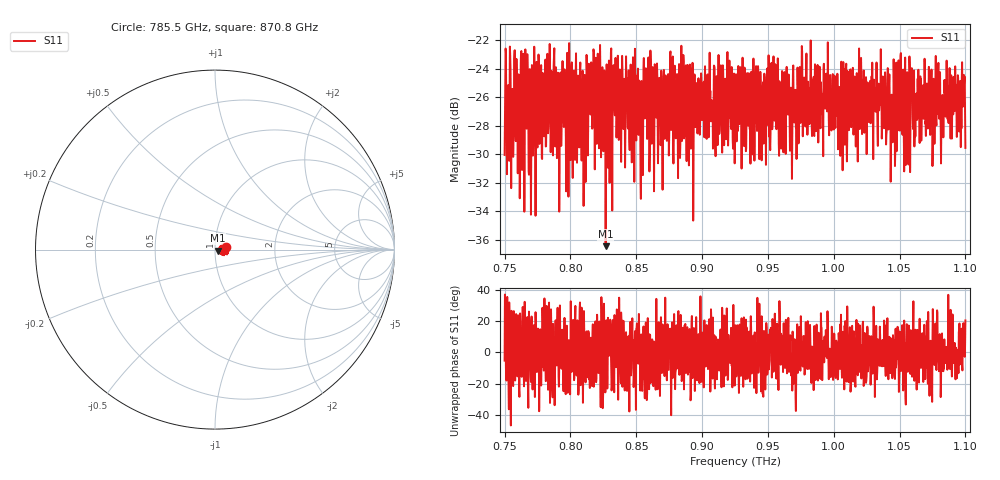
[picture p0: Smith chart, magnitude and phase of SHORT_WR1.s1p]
! Fixture THz termine par un SHORT ideal : ligne Zc=55 ohm, delai=300 ps, pertes 2.0 dB @10 GHz (~sqrt(f)), eps_r_eff=3.0 -> 51.93 mm, Z0=50 ohm ; 750.000 - 1100 GHz, pas 250 MHz, 1401 points, bruit -40 dB
! Frequency(Hz) Re(S11) Im(S11)
# Hz S RI R 50
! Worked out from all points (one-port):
!   1401 points, 750 GHz to 1.1 THz, reference 50 ohm
!   lowest |S11| = -36.5 dB at 826.8 GHz (marker M1), VSWR 1.03, Z = 51.4 - j0.517 ohm
!   |S11| at or under -10 dB: start of sweep to end of sweep
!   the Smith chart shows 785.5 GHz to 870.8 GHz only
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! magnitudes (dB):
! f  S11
! 750 GHz  -30.1
! 752.5 GHz  -26.6
! 759 GHz  -23.3
! 771.8 GHz  -29.1
! 786 GHz  -24.9
! 791.5 GHz  -34.0
! 793.8 GHz  -26.0
! 810 GHz  -33.6
! 814 GHz  -23.6
! 821 GHz  -23.7
! 826.8 GHz  -36.5
! 837.5 GHz  -24.0
! 848.2 GHz  -28.3
! 850.8 GHz  -24.7
! 853.5 GHz  -33.1
! 857.5 GHz  -24.1
! 868.2 GHz  -27.6
! 872.8 GHz  -26.8
! 881.2 GHz  -27.4
! 925 GHz  -28.7
! 950.2 GHz  -27.6
! 954.2 GHz  -23.1
! 968.8 GHz  -26.3
! 1.012 THz  -24.1
! 1.056 THz  -25.7
! 1.093 THz  -25.1
! 1.098 THz  -25.5
! 1.1 THz  -29.6
